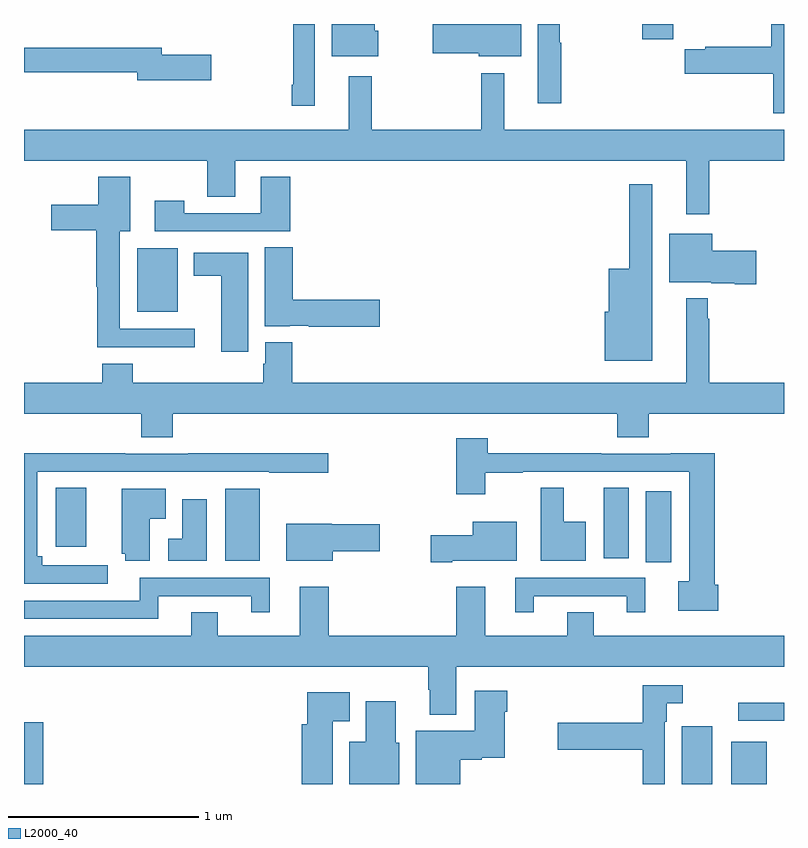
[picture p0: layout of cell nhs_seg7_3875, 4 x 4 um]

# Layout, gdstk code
import gdstk
lib = gdstk.Library(unit=1e-6, precision=1e-09)
def R(c, l, rs):  # rectangles x0, y0, x1, y1
    for r in rs: c.add(gdstk.rectangle(r[:2], r[2:], *l))
def P(c, l, *ps):  # polygons
    for p in ps: c.add(gdstk.Polygon(p, *l))
L2000_40 = (2000, 40)

nhs_seg7_3875 = lib.new_cell('nhs_seg7_3875')
R(nhs_seg7_3875, L2000_40, [(357,1000,357.101,1000.324), (360.461,1000,360.622,1000.303), (360.722,1000,360.91,1000.222), (360.759,1000.332,361,1000.428), (360.272,1001.166,360.406,1001.542), (358.058,1001.174,358.24,1001.554), (360.05,1001.187,360.184,1001.558), (357.167,1001.25,357.328,1001.558), (357.596,1002.485,357.808,1002.82), (360.253,1003.921,360.418,1004)])
P(nhs_seg7_3875, L2000_40, [(359.617,1004),(359.15,1004),(359.15,1003.847),(359.394,1003.847),(359.394,1003.829),(359.617,1003.829)],
  [(358.531,1004),(358.417,1004),(358.417,1003.681),(358.41,1003.681),(358.41,1003.569),(358.531,1003.569)],
  [(361,1004),(360.932,1004),(360.932,1003.88),(360.586,1003.88),(360.586,1003.867),(360.478,1003.867),(360.478,1003.738),(360.944,1003.738),(360.944,1003.53),(361,1003.53)],
  [(358.864,1003.965),(358.846,1003.965),(358.846,1004),(358.619,1004),(358.619,1003.829),(358.864,1003.829)],
  [(359.827,1003.901),(359.819,1003.901),(359.819,1004),(359.705,1004),(359.705,1003.584),(359.827,1003.584)],
  [(357.985,1003.838),(357.724,1003.838),(357.724,1003.874),(357,1003.874),(357,1003.746),(357.596,1003.746),(357.596,1003.703),(357.985,1003.703)],
  [(360.607,1003.28),(361,1003.28),(361,1003.444),(359.527,1003.444),(359.527,1003.741),(359.406,1003.741),(359.406,1003.444),(358.831,1003.444),(358.831,1003.726),(358.709,1003.726),(358.709,1003.444),(357,1003.444),(357,1003.28),(357.964,1003.28),(357.964,1003.09),(358.111,1003.09),(358.111,1003.28),(360.485,1003.28),(360.485,1002.999),(360.607,1002.999)],
  [(358.4,1003.195),(358.247,1003.195),(358.247,1003.005),(357.843,1003.005),(357.843,1003.069),(357.687,1003.069),(357.687,1002.909),(358.4,1002.909)],
  [(357.898,1002.396),(357.505,1002.396),(357.505,1002.908),(357.559,1002.908),(357.559,1003.195),(357.392,1003.195),(357.392,1003.048),(357.144,1003.048),(357.144,1002.914),(357.38,1002.914),(357.38,1002.617),(357.385,1002.617),(357.385,1002.299),(357.898,1002.299)],
  [(360.307,1003.156),(360.186,1003.156),(360.186,1002.712),(360.077,1002.712),(360.077,1002.486),(360.056,1002.486),(360.056,1002.227),(360.307,1002.227)],
  [(360.853,1002.807),(360.622,1002.807),(360.622,1002.895),(360.395,1002.895),(360.395,1002.641),(360.618,1002.641),(360.618,1002.635),(360.74,1002.635),(360.74,1002.629),(360.853,1002.629)],
  [(358.873,1002.548),(358.415,1002.548),(358.415,1002.824),(358.268,1002.824),(358.268,1002.41),(358.398,1002.41),(358.398,1002.413),(358.498,1002.413),(358.498,1002.406),(358.873,1002.406)],
  [(358.18,1002.796),(357.893,1002.796),(357.893,1002.674),(358.037,1002.674),(358.037,1002.276),(358.18,1002.276)],
  [(357.782,1001.948),(360.122,1001.948),(360.122,1001.824),(360.287,1001.824),(360.287,1001.948),(361,1001.948),(361,1002.112),(360.607,1002.112),(360.607,1002.449),(360.599,1002.449),(360.599,1002.556),(360.485,1002.556),(360.485,1002.112),(358.412,1002.112),(358.412,1002.325),(358.271,1002.325),(358.271,1002.213),(358.259,1002.213),(358.259,1002.112),(357.572,1002.112),(357.572,1002.211),(357.412,1002.211),(357.412,1002.112),(357,1002.112),(357,1001.948),(357.617,1001.948),(357.617,1001.824),(357.782,1001.824)],
  [(360.653,1001.049),(360.635,1001.049),(360.635,1001.741),(360.404,1001.741),(360.404,1001.739),(360.038,1001.739),(360.038,1001.741),(359.441,1001.741),(359.441,1001.821),(359.276,1001.821),(359.276,1001.526),(359.428,1001.526),(359.428,1001.638),(359.624,1001.638),(359.624,1001.643),(360.5,1001.643),(360.5,1001.066),(360.444,1001.066),(360.444,1000.913),(360.653,1000.913)],
  [(357.442,1001.151),(357.096,1001.151),(357.096,1001.199),(357.07,1001.199),(357.07,1001.643),(358.291,1001.643),(358.291,1001.638),(358.6,1001.638),(358.6,1001.741),(357.865,1001.741),(357.865,1001.739),(357.533,1001.739),(357.533,1001.741),(357,1001.741),(357,1001.055),(357.442,1001.055)],
  [(359.956,1001.38),(359.842,1001.38),(359.842,1001.558),(359.72,1001.558),(359.72,1001.174),(359.956,1001.174)],
  [(357.661,1001.396),(357.745,1001.396),(357.745,1001.554),(357.515,1001.554),(357.515,1001.211),(357.532,1001.211),(357.532,1001.174),(357.661,1001.174)],
  [(357.961,1001.5),(357.833,1001.5),(357.833,1001.29),(357.759,1001.29),(357.759,1001.174),(357.961,1001.174)],
  [(359.254,1001.174),(359.593,1001.174),(359.593,1001.38),(359.363,1001.38),(359.363,1001.309),(359.142,1001.309),(359.142,1001.167),(359.254,1001.167)],
  [(358.624,1001.224),(358.873,1001.224),(358.873,1001.366),(358.62,1001.366),(358.62,1001.371),(358.379,1001.371),(358.379,1001.174),(358.624,1001.174)],
  [(357.706,1000.989),(358.196,1000.989),(358.196,1000.905),(358.294,1000.905),(358.294,1001.085),(357.608,1001.085),(357.608,1000.965),(357,1000.965),(357,1000.869),(357.706,1000.869)],
  [(359.683,1000.989),(360.173,1000.989),(360.173,1000.905),(360.271,1000.905),(360.271,1001.085),(359.585,1001.085),(359.585,1000.905),(359.683,1000.905)],
  [(359.275,1000.616),(361,1000.616),(361,1000.78),(359.998,1000.78),(359.998,1000.904),(359.858,1000.904),(359.858,1000.78),(359.428,1000.78),(359.428,1001.038),(359.276,1001.038),(359.276,1000.78),(358.604,1000.78),(358.604,1001.038),(358.451,1001.038),(358.451,1000.78),(358.021,1000.78),(358.021,1000.904),(357.881,1000.904),(357.881,1000.78),(357,1000.78),(357,1000.616),(359.128,1000.616),(359.128,1000.496),(359.135,1000.496),(359.135,1000.364),(359.275,1000.364)],
  [(360.372,1000.328),(360.384,1000.328),(360.384,1000.425),(360.466,1000.425),(360.466,1000.521),(360.256,1000.521),(360.256,1000.323),(359.808,1000.323),(359.808,1000.181),(360.256,1000.181),(360.256,1000),(360.372,1000)],
  [(359.296,1000.127),(359.409,1000.127),(359.409,1000.139),(359.53,1000.139),(359.53,1000.379),(359.543,1000.379),(359.543,1000.492),(359.372,1000.492),(359.372,1000.279),(359.063,1000.279),(359.063,1000),(359.296,1000)],
  [(358.624,1000.331),(358.714,1000.331),(358.714,1000.483),(358.49,1000.483),(358.49,1000.315),(358.463,1000.315),(358.463,1000),(358.624,1000)],
  [(358.975,1000.218),(358.957,1000.218),(358.957,1000.435),(358.799,1000.435),(358.799,1000.222),(358.712,1000.222),(358.712,1000),(358.975,1000)])

lib.write_gds('nhs_seg7_3875.gds')
